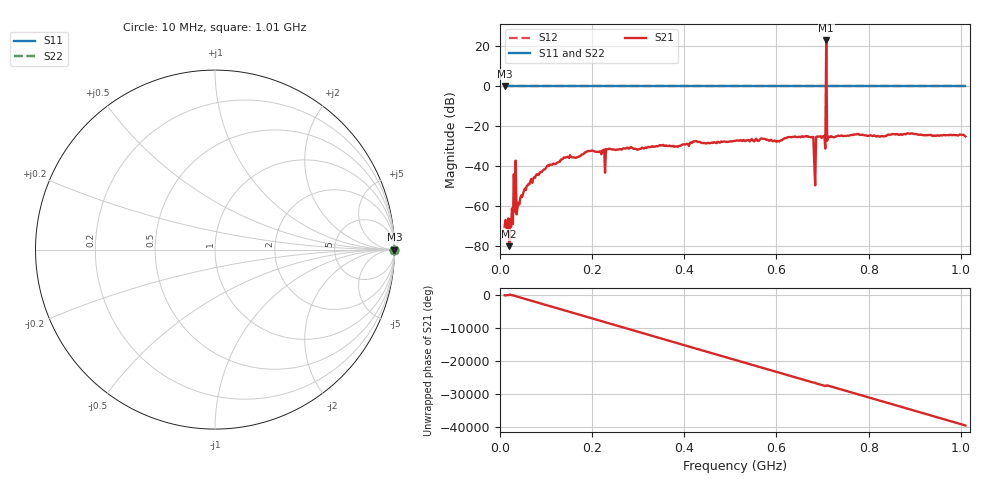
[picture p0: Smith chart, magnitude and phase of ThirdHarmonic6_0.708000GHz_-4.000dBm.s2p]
! 8/15/2025 11:39:15 PM
! C:\ANRITSUVNA\TEMP\TEMP.S2P
! CHANNEL.1
! TR.MEASUREMENT
! RAW.DATA
! RF.CORRECTION.OFF
! AVERAGING.OFF
! IF.BANDWIDTH: 5KHZ
! SWEEPTYPE:  FREQ.SWEEP(Linear)
! Reference Plane Port Info
! PORT:  PORT1  PORT2
! DISTANCE:  0  m  0  m
! TIME:  0  s  0  s
! PHASE.OFFSET:  0  deg.  0  deg.
! LOSS:  0  dB  0  dB
! REF.LOSS:  0  dB  0  dB
! REF.FREQ:  0  Hz  0  Hz
! Power Info
! POWER:  -20  dBm  -20  dBm
! EFF.POWER:  -20  dBm  -20  dBm
! SOURCE.ATTEN:  0  dB  0  dB
! TEST.ATTEN:  0  dB  0  dB
# GHZ S RI R 50.0
! FREQ.GHZ  S11RE  S11IM  S21RE  S21IM  S12RE  S12IM  S22RE  S22IM
!; PortSelection: Port_12
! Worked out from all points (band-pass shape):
!   501 points, 10 MHz to 1.01 GHz, reference 50 ohm
!   highest |S21| = 22.76 dB at 708 MHz (marker M1); lowest = -80.0 dB at 20 MHz (marker M2)
!   |S21| within 3 dB of the highest: 707.8888 MHz to 708.1198 MHz (230.9 kHz wide, 0.0326 % of centre)
!   lowest |S11| = 0.0 dB at 10 MHz (marker M3)
!   |S11| at or under -10 dB: nowhere
!   |S22| runs from 0.0 to 0.0 dB; largest |S21 - S12| = 13
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0.01  1 0  -0.000305 -5.59e-05  1 0  1 0
0.02  1 0  -3.71e-05 -9.34e-05  1 0  1 0
0.024  1 0  -2.6e-06 -0.000305  1 0  1 0
0.03  1 0  -0.0058 0.00245  1 0  1 0
0.034  1 0  0.00525 -0.0127  1 0  1 0
0.04  1 0  0.000985 0.000715  1 0  1 0
0.064  1 0  -0.0027 0.00227  1 0  1 0
0.104  1 0  0.00601 -0.00855  1 0  1 0
0.178  1 0  -0.019 -0.00458  1 0  1 0
0.344  1 0  0.0309 -0.0073  1 0  1 0
0.51  1 0  -0.0396 0.0159  1 0  1 0
0.678  1 0  -0.0245 -0.0461  1 0  1 0
0.68  1 0  -0.0507 0.0187  1 0  1 0
0.686  1 0  0.00695 -0.0528  1 0  1 0
0.69  1 0  -0.0255 0.0488  1 0  1 0
0.702  1 0  0.0552 -0.00644  1 0  1 0
0.704  1 0  0.00221 -0.0572  1 0  1 0
0.708  1 0  11.34 -7.759  1 0  1 0
0.712  1 0  0.0341 -0.0428  1 0  1 0
0.714  1 0  -0.0345 -0.0404  1 0  1 0
0.844  1 0  0.0459 0.0406  1 0  1 0
1.01  1 0  -0.0535 -0.013  1 0  1 0
